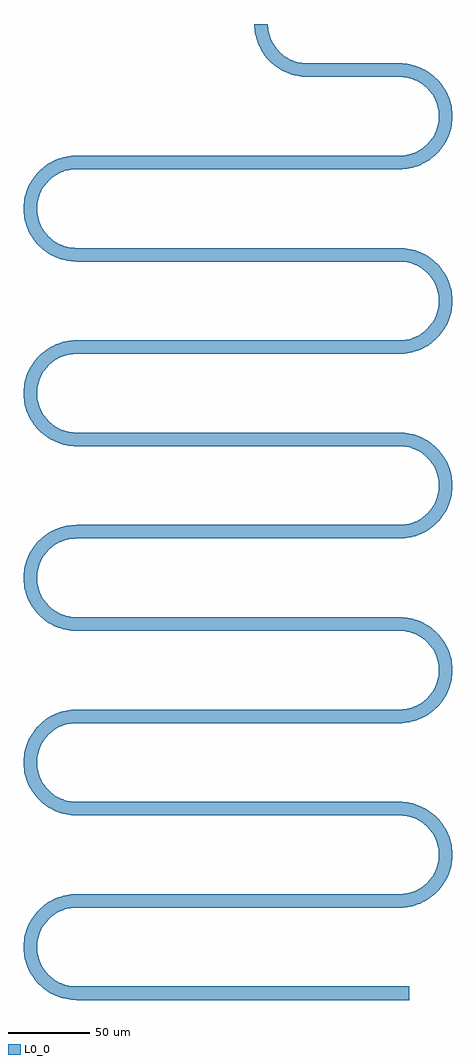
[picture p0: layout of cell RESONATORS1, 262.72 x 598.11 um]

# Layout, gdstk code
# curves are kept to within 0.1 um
import gdstk
lib = gdstk.Library(unit=1e-6, precision=1e-09)
def P(c, l, *ps):  # polygons
    for p in ps: c.add(gdstk.Polygon(p, *l))
L0_0 = (0, 0)

resonators1 = lib.new_cell('RESONATORS1')
P(resonators1, L0_0, [(1557.388,2569.298),(1353.639,2569.298),(1350.041,2569.568),(1347.682,2570.045),(1345.382,2570.754),(1342.093,2572.238),(1340.039,2573.493),(1337.218,2575.743),(1335.538,2577.466),(1334.037,2579.348),(1332.731,2581.369),(1331.633,2583.511),(1330.754,2585.751),(1330.102,2588.068),(1329.684,2590.438),(1329.505,2592.838),(1329.684,2596.442),(1330.102,2598.812),(1330.754,2601.129),(1332.156,2604.454),(1334.037,2607.533),(1335.538,2609.415),(1338.121,2611.934),(1341.051,2614.04),(1344.081,2615.606),(1346.523,2616.51),(1350.041,2617.313),(1353.639,2617.582),(1553.146,2617.623),(1557.955,2618.225),(1561.087,2619.023),(1565.599,2620.794),(1568.438,2622.34),(1571.109,2624.161),(1574.742,2627.367),(1577.858,2631.08),(1579.741,2634.034),(1569.631,2634.034),(1567.95,2632.311),(1566.107,2630.764),(1564.118,2629.408),(1562.004,2628.257),(1559.787,2627.322),(1557.487,2626.613),(1555.128,2626.136),(1552.733,2625.896),(1353.639,2625.866),(1348.806,2625.504),(1344.081,2624.426),(1341.044,2623.32),(1338.131,2621.918),(1334.06,2619.288),(1330.426,2616.081),(1327.311,2612.369),(1324.784,2608.233),(1323.454,2605.287),(1322.425,2602.223),(1321.465,2597.472),(1321.223,2594.249),(1321.304,2591.017),(1321.706,2587.81),(1322.425,2584.658),(1323.454,2581.594),(1324.784,2578.647),(1326.4,2575.848),(1328.287,2573.223),(1330.426,2570.799),(1332.796,2568.601),(1335.373,2566.649),(1338.131,2564.963),(1341.044,2563.561),(1344.081,2562.455),(1347.214,2561.657),(1350.41,2561.175),(1353.639,2561.014),(1557.388,2561.014)],
  [(1580.385,2635.215),(1581.714,2638.162),(1582.744,2641.226),(1583.704,2645.976),(1583.946,2649.2),(1583.865,2652.432),(1583.143,2657.224),(1582.267,2660.336),(1581.086,2663.345),(1579.611,2666.221),(1577.858,2668.937),(1575.842,2671.464),(1572.373,2674.848),(1569.796,2676.8),(1567.038,2678.486),(1564.125,2679.888),(1561.087,2680.994),(1556.362,2682.072),(1551.53,2682.434),(1353.639,2682.434),(1350.041,2682.704),(1347.682,2683.181),(1345.382,2683.89),(1342.093,2685.374),(1340.039,2686.629),(1337.218,2688.879),(1335.538,2690.602),(1334.037,2692.484),(1332.731,2694.505),(1331.633,2696.647),(1330.399,2700.038),(1329.864,2702.384),(1329.565,2704.772),(1329.505,2707.178),(1329.684,2709.578),(1330.102,2711.948),(1331.153,2715.359),(1322.425,2715.359),(1321.706,2712.207),(1321.304,2709),(1321.223,2705.768),(1321.465,2702.544),(1322.026,2699.361),(1322.902,2696.249),(1324.083,2693.24),(1325.557,2690.363),(1327.311,2687.648),(1329.327,2685.121),(1331.584,2682.806),(1334.06,2680.729),(1338.131,2678.099),(1341.044,2676.697),(1344.081,2675.591),(1348.806,2674.513),(1353.639,2674.15),(1551.53,2674.15),(1555.128,2673.881),(1558.646,2673.078),(1562.004,2671.76),(1565.129,2669.955),(1567.048,2668.502),(1569.631,2665.983),(1571.81,2663.106),(1573.013,2661.022),(1574.415,2657.697),(1575.305,2654.201),(1575.604,2651.812),(1575.664,2649.406),(1575.305,2645.816),(1574.415,2642.319),(1573.013,2638.994),(1571.81,2636.91),(1569.631,2634.034),(1579.741,2634.034)],
  [(1331.166,2715.396),(1332.731,2718.647),(1334.764,2721.629),(1337.218,2724.274),(1339.062,2725.821),(1342.093,2727.778),(1345.382,2729.262),(1348.855,2730.24),(1352.436,2730.688),(1551.53,2730.718),(1554.758,2730.879),(1557.955,2731.361),(1561.087,2732.159),(1564.125,2733.265),(1567.038,2734.667),(1569.796,2736.353),(1572.373,2738.305),(1574.742,2740.503),(1576.881,2742.927),(1578.768,2745.552),(1580.385,2748.351),(1581.714,2751.298),(1582.744,2754.362),(1583.463,2757.514),(1583.865,2760.721),(1583.946,2763.953),(1583.704,2767.176),(1583.143,2770.36),(1581.714,2774.991),(1579.611,2779.357),(1576.881,2783.362),(1574.742,2785.785),(1573.198,2787.256),(1552.733,2787.256),(1556.313,2786.808),(1558.646,2786.214),(1560.907,2785.391),(1564.118,2783.744),(1566.107,2782.389),(1567.95,2780.842),(1570.405,2778.197),(1571.81,2776.242),(1573.013,2774.158),(1574.003,2771.964),(1574.769,2769.683),(1575.305,2767.337),(1575.604,2764.948),(1575.664,2762.542),(1575.484,2760.142),(1575.066,2757.772),(1574.415,2755.455),(1573.013,2752.13),(1571.81,2750.046),(1570.405,2748.092),(1568.812,2746.288),(1567.048,2744.65),(1564.118,2742.544),(1562.004,2741.393),(1559.787,2740.458),(1556.313,2739.481),(1553.933,2739.122),(1551.53,2739.002),(1353.639,2739.002),(1350.41,2738.841),(1347.214,2738.359),(1344.081,2737.562),(1341.044,2736.456),(1338.131,2735.054),(1335.373,2733.368),(1332.796,2731.416),(1330.426,2729.217),(1328.287,2726.794),(1326.4,2724.169),(1324.784,2721.369),(1323.454,2718.423),(1322.425,2715.359)],
  [(1572.373,2787.984),(1569.796,2789.936),(1567.038,2791.622),(1562.62,2793.615),(1557.955,2794.927),(1553.146,2795.53),(1353.639,2795.57),(1350.041,2795.84),(1347.682,2796.317),(1345.382,2797.026),(1342.093,2798.51),(1340.039,2799.765),(1338.121,2801.218),(1336.357,2802.856),(1334.764,2804.66),(1332.731,2807.641),(1331.633,2809.783),(1330.754,2812.023),(1330.102,2814.34),(1329.684,2816.71),(1329.505,2820.314),(1329.684,2822.714),(1330.102,2825.084),(1331.166,2828.532),(1332.731,2831.783),(1334.037,2833.805),(1335.538,2835.687),(1337.218,2837.41),(1339.062,2838.957),(1342.093,2840.914),(1344.261,2841.959),(1346.523,2842.782),(1350.041,2843.585),(1353.639,2843.854),(1553.146,2843.895),(1557.955,2844.497),(1561.087,2845.295),(1564.125,2846.401),(1567.038,2847.803),(1569.796,2849.489),(1572.373,2851.441),(1574.303,2853.211),(1558.646,2853.211),(1555.128,2852.408),(1551.53,2852.138),(1353.639,2852.138),(1350.41,2851.977),(1347.214,2851.495),(1344.081,2850.698),(1339.57,2848.927),(1335.373,2846.504),(1332.796,2844.552),(1330.426,2842.353),(1327.311,2838.641),(1324.784,2834.505),(1323.454,2831.559),(1322.425,2828.495),(1321.465,2823.744),(1321.223,2820.521),(1321.304,2817.289),(1321.706,2814.082),(1322.425,2810.93),(1323.454,2807.866),(1324.784,2804.919),(1326.4,2802.12),(1328.287,2799.495),(1330.426,2797.071),(1332.796,2794.873),(1335.373,2792.921),(1338.131,2791.235),(1341.044,2789.833),(1344.081,2788.727),(1348.806,2787.649),(1353.639,2787.286),(1573.198,2787.256)],
  [(1574.742,2853.639),(1577.858,2857.352),(1579.611,2860.067),(1581.086,2862.944),(1582.744,2867.498),(1583.704,2872.248),(1583.946,2875.472),(1583.704,2880.312),(1582.744,2885.063),(1581.086,2889.617),(1579.611,2892.493),(1577.858,2895.209),(1574.742,2898.921),(1571.991,2901.425),(1568.438,2903.949),(1565.599,2905.495),(1561.087,2907.266),(1556.362,2908.344),(1551.53,2908.706),(1353.639,2908.706),(1351.235,2908.826),(1348.855,2909.185),(1346.523,2909.779),(1344.261,2910.602),(1342.093,2911.646),(1340.039,2912.901),(1338.121,2914.354),(1335.538,2916.874),(1334.037,2918.756),(1332.731,2920.777),(1331.166,2924.028),(1330.102,2927.476),(1329.684,2929.846),(1329.505,2932.246),(1321.223,2932.246),(1321.706,2927.218),(1322.425,2924.066),(1323.454,2921.002),(1325.557,2916.635),(1327.311,2913.92),(1329.327,2911.393),(1332.796,2908.009),(1335.373,2906.057),(1338.131,2904.371),(1341.044,2902.969),(1344.081,2901.863),(1348.806,2900.785),(1353.639,2900.422),(1551.53,2900.422),(1555.128,2900.153),(1558.646,2899.35),(1562.004,2898.032),(1565.129,2896.227),(1567.95,2893.978),(1570.405,2891.333),(1571.81,2889.378),(1573.013,2887.294),(1574.415,2883.969),(1575.305,2880.473),(1575.664,2876.882),(1575.604,2874.476),(1575.305,2872.088),(1574.415,2868.591),(1573.013,2865.266),(1571.131,2862.188),(1568.812,2859.424),(1566.107,2857.036),(1563.076,2855.078),(1560.907,2854.034),(1558.646,2853.211),(1574.303,2853.211)],
  [(1329.505,2933.45),(1329.684,2935.85),(1330.102,2938.22),(1331.166,2941.668),(1332.731,2944.919),(1334.037,2946.941),(1335.538,2948.823),(1337.218,2950.546),(1339.062,2952.093),(1341.051,2953.448),(1343.164,2954.6),(1345.382,2955.534),(1347.682,2956.244),(1351.235,2956.87),(1353.639,2956.99),(1551.53,2956.99),(1554.758,2957.151),(1559.531,2957.993),(1562.62,2958.946),(1565.599,2960.202),(1568.438,2961.748),(1571.109,2963.569),(1573.585,2965.646),(1575.842,2967.961),(1577.858,2970.488),(1579.611,2973.203),(1581.086,2976.08),(1582.267,2979.089),(1583.143,2982.201),(1583.704,2985.384),(1583.946,2990.225),(1583.704,2993.448),(1583.143,2996.632),(1581.714,3001.263),(1579.611,3005.629),(1576.881,3009.634),(1574.302,3012.486),(1558.646,3012.486),(1562.004,3011.168),(1564.118,3010.016),(1566.107,3008.661),(1567.95,3007.114),(1569.631,3005.391),(1571.81,3002.514),(1573.535,2999.346),(1574.769,2995.955),(1575.305,2993.609),(1575.604,2991.22),(1575.604,2987.612),(1575.066,2984.044),(1574.003,2980.596),(1573.013,2978.402),(1571.81,2976.318),(1569.631,2973.442),(1567.048,2970.922),(1565.129,2969.469),(1563.076,2968.214),(1559.787,2966.73),(1557.487,2966.021),(1555.128,2965.544),(1551.53,2965.274),(1353.639,2965.274),(1350.41,2965.113),(1345.638,2964.272),(1342.549,2963.319),(1338.131,2961.326),(1335.373,2959.64),(1332.796,2957.688),(1330.426,2955.489),(1328.287,2953.066),(1326.4,2950.441),(1324.784,2947.641),(1323.454,2944.695),(1322.026,2940.064),(1321.465,2936.88),(1321.223,2932.246),(1329.505,2932.246)],
  [(1573.585,3013.186),(1569.796,3016.208),(1567.038,3017.894),(1564.125,3019.296),(1559.531,3020.84),(1556.362,3021.48),(1553.146,3021.802),(1353.639,3021.842),(1350.041,3022.112),(1347.682,3022.589),(1345.382,3023.298),(1342.093,3024.782),(1340.039,3026.037),(1338.121,3027.49),(1336.357,3029.128),(1334.764,3030.932),(1332.731,3033.913),(1331.633,3036.055),(1330.754,3038.295),(1330.102,3040.612),(1329.684,3042.982),(1329.505,3046.586),(1329.684,3048.986),(1330.102,3051.356),(1331.166,3054.804),(1332.731,3058.055),(1334.037,3060.077),(1335.538,3061.959),(1337.218,3063.682),(1339.062,3065.229),(1342.093,3067.186),(1344.261,3068.231),(1346.523,3069.054),(1350.041,3069.857),(1353.639,3070.126),(1553.146,3070.167),(1557.955,3070.769),(1561.087,3071.567),(1564.125,3072.673),(1567.038,3074.075),(1569.796,3075.761),(1573.695,3078.889),(1556.313,3078.889),(1553.933,3078.53),(1551.53,3078.41),(1353.639,3078.41),(1350.41,3078.249),(1347.214,3077.767),(1344.081,3076.97),(1339.57,3075.199),(1335.373,3072.776),(1332.796,3070.824),(1330.426,3068.625),(1327.311,3064.913),(1324.784,3060.777),(1323.454,3057.831),(1322.425,3054.767),(1321.465,3050.016),(1321.223,3046.793),(1321.304,3043.561),(1321.706,3040.354),(1322.425,3037.202),(1323.454,3034.138),(1324.784,3031.191),(1326.4,3028.392),(1328.287,3025.767),(1330.426,3023.343),(1332.796,3021.145),(1335.373,3019.193),(1338.131,3017.507),(1341.044,3016.105),(1344.081,3014.999),(1348.806,3013.921),(1353.639,3013.558),(1551.53,3013.558),(1555.128,3013.289),(1558.646,3012.486),(1574.302,3012.486)],
  [(1574.742,3079.911),(1577.858,3083.624),(1579.611,3086.339),(1581.086,3089.216),(1582.267,3092.225),(1583.143,3095.337),(1583.704,3098.52),(1583.946,3101.744),(1583.865,3104.976),(1583.463,3108.183),(1582.744,3111.335),(1581.086,3115.889),(1579.611,3118.765),(1577.858,3121.481),(1575.842,3124.008),(1572.373,3127.392),(1569.796,3129.344),(1567.038,3131.03),(1562.62,3133.023),(1559.531,3133.976),(1554.758,3134.817),(1551.53,3134.978),(1495.073,3134.978),(1491.531,3135.24),(1488.065,3136.018),(1484.751,3137.296),(1481.66,3139.047),(1478.86,3141.232),(1477.185,3142.908),(1475.682,3144.739),(1474.366,3146.709),(1473.249,3148.798),(1471.97,3152.112),(1471.192,3155.578),(1470.931,3159.12),(1462.647,3159.12),(1462.803,3155.942),(1463.27,3152.794),(1464.542,3148.196),(1466.476,3143.835),(1469.028,3139.804),(1472.144,3136.192),(1475.757,3133.076),(1479.787,3130.523),(1484.149,3128.59),(1488.747,3127.317),(1493.482,3126.733),(1551.53,3126.694),(1553.933,3126.574),(1556.313,3126.216),(1559.787,3125.238),(1562.004,3124.304),(1565.129,3122.499),(1567.95,3120.25),(1570.405,3117.605),(1572.437,3114.623),(1574.003,3111.372),(1575.066,3107.924),(1575.604,3104.356),(1575.664,3101.95),(1575.305,3098.36),(1574.415,3094.863),(1573.013,3091.538),(1571.131,3088.46),(1568.812,3085.696),(1566.107,3083.308),(1563.076,3081.35),(1559.787,3079.866),(1556.313,3078.889),(1573.695,3078.889)])

lib.write_gds('RESONATORS1.gds')
